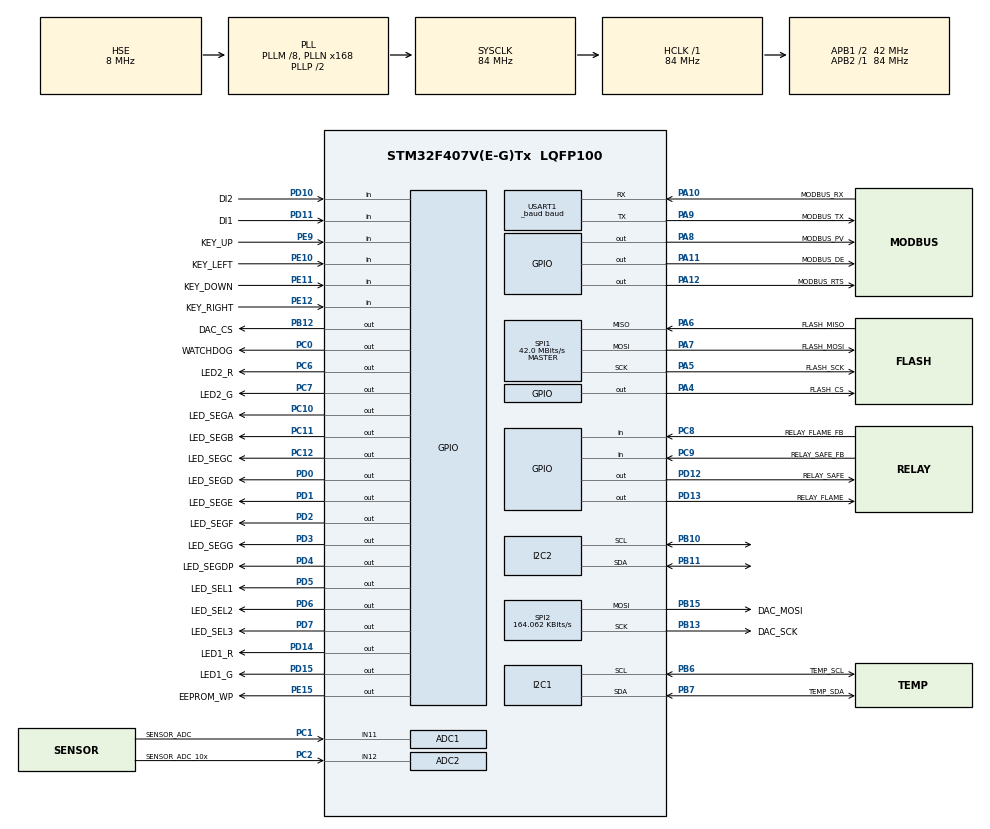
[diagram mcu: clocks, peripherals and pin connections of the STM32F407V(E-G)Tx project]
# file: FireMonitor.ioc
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ADC1.Channel-3\#ChannelRegularConversion=ADC_CHANNEL_11
ADC1.DiscontinuousConvMode=ENABLE
ADC1.NbrOfConversionFlag=1
ADC1.Rank-3\#ChannelRegularConversion=1
ADC1.SamplingTime-3\#ChannelRegularConversion=ADC_SAMPLETIME_480CYCLES
ADC1.ScanConvMode=ENABLE
ADC1.master=1
ADC2.Channel-0\#ChannelRegularConversion=ADC_CHANNEL_12
ADC2.DiscontinuousConvMode=ENABLE
ADC2.NbrOfConversionFlag=1
ADC2.Rank-0\#ChannelRegularConversion=1
ADC2.SamplingTime-0\#ChannelRegularConversion=ADC_SAMPLETIME_480CYCLES
ADC2.ScanConvMode=ENABLE
Dma.Request0=USART1_RX
Dma.Request1=USART1_TX
Dma.USART1_RX.0.Direction=DMA_PERIPH_TO_MEMORY
Dma.USART1_RX.0.FIFOMode=DMA_FIFOMODE_DISABLE
Dma.USART1_RX.0.Instance=DMA2_Stream2
Dma.USART1_RX.0.MemDataAlignment=DMA_MDATAALIGN_BYTE
Dma.USART1_RX.0.MemInc=DMA_MINC_ENABLE
Dma.USART1_RX.0.Mode=DMA_NORMAL
Dma.USART1_RX.0.PeriphDataAlignment=DMA_PDATAALIGN_BYTE
Dma.USART1_RX.0.PeriphInc=DMA_PINC_DISABLE
Dma.USART1_RX.0.Priority=DMA_PRIORITY_LOW
Dma.USART1_TX.1.Direction=DMA_MEMORY_TO_PERIPH
Dma.USART1_TX.1.FIFOMode=DMA_FIFOMODE_DISABLE
Dma.USART1_TX.1.Instance=DMA2_Stream7
Dma.USART1_TX.1.MemDataAlignment=DMA_MDATAALIGN_BYTE
Dma.USART1_TX.1.MemInc=DMA_MINC_ENABLE
Dma.USART1_TX.1.Mode=DMA_NORMAL
Dma.USART1_TX.1.PeriphDataAlignment=DMA_PDATAALIGN_BYTE
Dma.USART1_TX.1.PeriphInc=DMA_PINC_DISABLE
Dma.USART1_TX.1.Priority=DMA_PRIORITY_LOW
Mcu.Family=STM32F4
Mcu.Name=STM32F407V(E-G)Tx
Mcu.Package=LQFP100
NVIC.DMA2_Stream2_IRQn=true\:0\:0\:false\:false\:true\:false\:true\:true
NVIC.DMA2_Stream7_IRQn=true\:0\:0\:false\:false\:true\:false\:true\:true
NVIC.PriorityGroup=NVIC_PRIORITYGROUP_4
NVIC.TIM3_IRQn=true\:0\:0\:false\:false\:true\:true\:true\:true
NVIC.USART1_IRQn=true\:0\:0\:false\:false\:true\:true\:true\:true
PA10.GPIO_Label=MODBUS_RX
PA10.GPIO_PuPd=GPIO_PULLUP
PA10.Mode=Asynchronous
PA10.Signal=USART1_RX
PA11.GPIO_Label=MODBUS_DE
PA11.GPIO_PuPd=GPIO_PULLUP
PA11.Signal=GPIO_Output
PA12.GPIO_Label=MODBUS_RTS
PA12.Signal=GPIO_Output
PA13.Mode=Serial_Wire
PA13.Signal=SYS_JTMS-SWDIO
PA14.Mode=Serial_Wire
PA14.Signal=SYS_JTCK-SWCLK
PA4.GPIO_Label=FLASH_CS
PA4.Signal=GPIO_Output
PA5.GPIO_Label=FLASH_SCK
PA5.Mode=Full_Duplex_Master
PA5.Signal=SPI1_SCK
PA6.GPIO_Label=FLASH_MISO
PA6.Mode=Full_Duplex_Master
PA6.Signal=SPI1_MISO
PA7.GPIO_Label=FLASH_MOSI
PA7.Mode=Full_Duplex_Master
PA7.Signal=SPI1_MOSI
PA8.GPIO_Label=MODBUS_PV
PA8.GPIO_ModeDefaultOutputPP=GPIO_MODE_OUTPUT_PP
PA8.GPIO_PuPd=GPIO_PULLUP
PA8.Signal=GPIO_Output
PA9.GPIO_Label=MODBUS_TX
PA9.Mode=Asynchronous
PA9.Signal=USART1_TX
PB10.GPIO_Mode=GPIO_MODE_AF_OD
PB10.GPIO_Pu=GPIO_NOPULL
PB10.GPIO_Speed=GPIO_SPEED_FREQ_VERY_HIGH
PB10.Mode=I2C
PB10.Signal=I2C2_SCL
PB11.GPIO_Mode=GPIO_MODE_AF_OD
PB11.GPIO_Pu=GPIO_NOPULL
PB11.GPIO_Speed=GPIO_SPEED_FREQ_VERY_HIGH
PB11.Mode=I2C
PB11.Signal=I2C2_SDA
PB12.GPIO_Label=DAC_CS
PB12.Signal=GPIO_Output
PB13.GPIO_Label=DAC_SCK
PB13.Mode=TX_Only_Simplex_Unidirect_Master
PB13.Signal=SPI2_SCK
PB15.GPIO_Label=DAC_MOSI
PB15.Mode=TX_Only_Simplex_Unidirect_Master
PB15.Signal=SPI2_MOSI
PB6.GPIO_Label=TEMP_SCL
PB6.Mode=I2C
PB6.Signal=I2C1_SCL
PB7.GPIO_Label=TEMP_SDA
PB7.Mode=I2C
PB7.Signal=I2C1_SDA
PC0.GPIO_Label=WATCHDOG
PC0.Signal=GPIO_Output
PC1.GPIO_Label=SENSOR_ADC
PC1.Signal=ADCx_IN11
PC10.GPIO_Label=LED_SEGA
PC10.Signal=GPIO_Output
PC11.GPIO_Label=LED_SEGB
PC11.Signal=GPIO_Output
PC12.GPIO_Label=LED_SEGC
PC12.Signal=GPIO_Output
PC2.GPIO_Label=SENSOR_ADC_10x
PC2.Signal=ADCx_IN12
PC6.GPIO_Label=LED2_R
PC6.Signal=GPIO_Output
PC7.GPIO_Label=LED2_G
PC7.Signal=GPIO_Output
PC8.GPIO_Label=RELAY_FLAME_FB
PC8.Signal=GPIO_Input
PC9.GPIO_Label=RELAY_SAFE_FB
PC9.Signal=GPIO_Input
PD0.GPIO_Label=LED_SEGD
PD0.Signal=GPIO_Output
PD1.GPIO_Label=LED_SEGE
PD1.Signal=GPIO_Output
PD10.GPIO_Label=DI2
PD10.Signal=GPIO_Input
PD11.GPIO_Label=DI1
PD11.Signal=GPIO_Input
PD12.GPIO_Label=RELAY_SAFE
PD12.Signal=GPIO_Output
PD13.GPIO_Label=RELAY_FLAME
PD13.Signal=GPIO_Output
PD14.GPIO_Label=LED1_R
PD14.Signal=GPIO_Output
PD15.GPIO_Label=LED1_G
PD15.Signal=GPIO_Output
PD2.GPIO_Label=LED_SEGF
PD2.Signal=GPIO_Output
PD3.GPIO_Label=LED_SEGG
PD3.Signal=GPIO_Output
PD4.GPIO_Label=LED_SEGDP
PD4.Signal=GPIO_Output
PD5.GPIO_Label=LED_SEL1
PD5.GPIO_PuPd=GPIO_PULLUP
PD5.Signal=GPIO_Output
PD6.GPIO_Label=LED_SEL2
PD6.GPIO_PuPd=GPIO_PULLUP
PD6.Signal=GPIO_Output
PD7.GPIO_Label=LED_SEL3
PD7.GPIO_PuPd=GPIO_PULLUP
PD7.Signal=GPIO_Output
PE10.GPIO_Label=KEY_LEFT
PE10.Signal=GPIO_Input
PE11.GPIO_Label=KEY_DOWN
PE11.Signal=GPIO_Input
PE12.GPIO_Label=KEY_RIGHT
PE12.Signal=GPIO_Input
PE15.GPIO_Label=EEPROM_WP
PE15.GPIO_PuPd=GPIO_NOPULL
PE15.PinState=GPIO_PIN_SET
PE15.Signal=GPIO_Output
PE9.GPIO_Label=KEY_UP
PE9.Signal=GPIO_Input
PH0-OSC_IN.Mode=HSE-External-Oscillator
PH0-OSC_IN.Signal=RCC_OSC_IN
PH1-OSC_OUT.Mode=HSE-External-Oscillator
PH1-OSC_OUT.Signal=RCC_OSC_OUT
ProjectManager.HeapSize=0x200
ProjectManager.StackSize=0x400
ProjectManager.TargetToolchain=MDK-ARM V5.32
RCC.48MHZClocksFreq_Value=42000000
RCC.AHBFreq_Value=84000000
RCC.APB1CLKDivider=RCC_HCLK_DIV2
RCC.APB1Freq_Value=42000000
RCC.APB1TimFreq_Value=84000000
RCC.APB2Freq_Value=84000000
RCC.APB2TimFreq_Value=84000000
RCC.CortexFreq_Value=84000000
RCC.HCLKFreq_Value=84000000
RCC.HSE_VALUE=8000000
RCC.HSI_VALUE=16000000
RCC.LSE_VALUE=32768
RCC.PLLM=8
RCC.PLLN=168
RCC.PLLSourceVirtual=RCC_PLLSOURCE_HSE
RCC.SYSCLKFreq_VALUE=84000000
RCC.SYSCLKSource=RCC_SYSCLKSOURCE_PLLCLK
RCC.VCOOutputFreq_Value=168000000
SH.ADCx_IN11.0=ADC1_IN11,IN11
SH.ADCx_IN12.0=ADC2_IN12,IN12
SPI1.BaudRatePrescaler=SPI_BAUDRATEPRESCALER_2
SPI1.CalculateBaudRate=42.0 MBits/s
SPI1.Direction=SPI_DIRECTION_2LINES
SPI1.Mode=SPI_MODE_MASTER
SPI1.VirtualType=VM_MASTER
SPI2.BaudRatePrescaler=SPI_BAUDRATEPRESCALER_256
SPI2.CLKPhase=SPI_PHASE_2EDGE
SPI2.CLKPolarity=SPI_POLARITY_LOW
SPI2.CalculateBaudRate=164.062 KBits/s
SPI2.Direction=SPI_DIRECTION_2LINES
SPI2.Mode=SPI_MODE_MASTER
SPI2.VirtualType=VM_MASTER
TIM3.AutoReloadPreload=TIM_AUTORELOAD_PRELOAD_DISABLE
TIM3.Period=1000-1
TIM3.Prescaler=42-1
USART1.BaudRate=_baud
USART1.Parity=PARITY_EVEN
USART1.VirtualMode=VM_ASYNC
USART1.WordLength=WORDLENGTH_9B
VP_TIM3_VS_ClockSourceINT.Mode=Internal
board=custom

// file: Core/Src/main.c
/* USER CODE BEGIN Header */
/**
  ******************************************************************************
  * @file           : main.c
  * @brief          : Main program body
  ******************************************************************************
  * @attention
  *
  * Copyright (c) 2025 STMicroelectronics.
  * All rights reserved.
  *
  * This software is licensed under terms that can be found in the LICENSE file
  * in the root directory of this software component.
  * If no LICENSE file comes with this software, it is provided AS-IS.
  *
  ******************************************************************************
  */
/* USER CODE END Header */
#include "main.h"

/* USER CODE BEGIN Includes */
#include "relay.h"
#include "tempareture.h"
#include "analog_output.h"
#include "function_set.h"
#include "operating_mode.h"
#include "log.h"
#include "key.h"
#include "digit.h"
#include "led.h"
#include "menu.h"
#include "usart.h"
#include "eeprom.h"
#include "flash.h"
#include "digit.h"
#include "sensor.h"
#include "self_test.h"
/* USER CODE END Includes */

ADC_HandleTypeDef hadc1;
ADC_HandleTypeDef hadc2;

I2C_HandleTypeDef hi2c1;
I2C_HandleTypeDef hi2c2;

SPI_HandleTypeDef hspi1;
SPI_HandleTypeDef hspi2;

TIM_HandleTypeDef htim3;

UART_HandleTypeDef huart1;
DMA_HandleTypeDef hdma_usart1_rx;
DMA_HandleTypeDef hdma_usart1_tx;

void SystemClock_Config(void);
static void MX_GPIO_Init(void);
static void MX_DMA_Init(void);
static void MX_ADC1_Init(void);
static void MX_I2C1_Init(void);
static void MX_I2C2_Init(void);
static void MX_SPI1_Init(void);
static void MX_SPI2_Init(void);
static void MX_USART1_UART_Init(void);
static void MX_TIM3_Init(void);
static void MX_ADC2_Init(void);

/* USER CODE BEGIN 0 */
static const uint8_t _log_level = 1;
extern uint32_t _baud;
/* USER CODE END 0 */

int main(void)
{

  /* MCU Configuration--------------------------------------------------------*/

  /* Reset of all peripherals, Initializes the Flash interface and the Systick. */
  HAL_Init();

  /* USER CODE BEGIN Init */

  SEGGER_RTT_Init();
  LOG_INF("initialize...");

  /* USER CODE END Init */

  /* Configure the system clock */
  SystemClock_Config();

  /* Initialize all configured peripherals */
  MX_GPIO_Init();
  MX_DMA_Init();
  MX_ADC1_Init();
  MX_I2C1_Init();
  MX_I2C2_Init();
  MX_SPI1_Init();
  MX_SPI2_Init();
  MX_USART1_UART_Init();
  MX_TIM3_Init();
  MX_ADC2_Init();
  /* USER CODE BEGIN 2 */
  usart_baud_init();
  MX_USART1_UART_Init();
  flash_init();
  log_init();
  digit_init();
  sensor_init();
  relay_init();
  tempareture_init();
  analog_output_init();
  function_set_init();
  operating_mode_init();
  key_init();
  led_init();
  menu_init();
  usart_init();
  self_test_init();
  /* USER CODE END 2 */

  /* Infinite loop */
  /* USER CODE BEGIN WHILE */
  while (1)
  {
      log_update();
      HAL_GPIO_WritePin(WATCHDOG_GPIO_Port, WATCHDOG_Pin, GPIO_PIN_RESET);
      digit_update();
      sensor_update();
      relay_update();
      tempareture_update();
      analog_output_update();
      HAL_GPIO_WritePin(WATCHDOG_GPIO_Port, WATCHDOG_Pin, GPIO_PIN_SET);
      function_set_update();
      key_update();
      led_update();
      menu_update();
      usart_update();
      self_test_update();
      eeprom_update();
    /* USER CODE END WHILE */

  }
}

void SystemClock_Config(void)
{
  RCC_OscInitTypeDef RCC_OscInitStruct = {0};
  RCC_ClkInitTypeDef RCC_ClkInitStruct = {0};

  /** Configure the main internal regulator output voltage
  */
  __HAL_RCC_PWR_CLK_ENABLE();
  __HAL_PWR_VOLTAGESCALING_CONFIG(PWR_REGULATOR_VOLTAGE_SCALE1);

  /** Initializes the RCC Oscillators according to the specified parameters
  * in the RCC_OscInitTypeDef structure.
  */
  RCC_OscInitStruct.OscillatorType = RCC_OSCILLATORTYPE_HSE;
  RCC_OscInitStruct.HSEState = RCC_HSE_ON;
  RCC_OscInitStruct.PLL.PLLState = RCC_PLL_ON;
  RCC_OscInitStruct.PLL.PLLSource = RCC_PLLSOURCE_HSE;
  RCC_OscInitStruct.PLL.PLLM = 8;
  RCC_OscInitStruct.PLL.PLLN = 168;
  RCC_OscInitStruct.PLL.PLLP = RCC_PLLP_DIV2;
  RCC_OscInitStruct.PLL.PLLQ = 4;
  if (HAL_RCC_OscConfig(&RCC_OscInitStruct) != HAL_OK)
  {
    Error_Handler();
  }

  /** Initializes the CPU, AHB and APB buses clocks
  */
  RCC_ClkInitStruct.ClockType = RCC_CLOCKTYPE_HCLK|RCC_CLOCKTYPE_SYSCLK
                              |RCC_CLOCKTYPE_PCLK1|RCC_CLOCKTYPE_PCLK2;
  RCC_ClkInitStruct.SYSCLKSource = RCC_SYSCLKSOURCE_PLLCLK;
  RCC_ClkInitStruct.AHBCLKDivider = RCC_SYSCLK_DIV1;
  RCC_ClkInitStruct.APB1CLKDivider = RCC_HCLK_DIV2;
  RCC_ClkInitStruct.APB2CLKDivider = RCC_HCLK_DIV1;

  if (HAL_RCC_ClockConfig(&RCC_ClkInitStruct, FLASH_LATENCY_2) != HAL_OK)
  {
    Error_Handler();
  }
}

static void MX_ADC1_Init(void)
{

  ADC_ChannelConfTypeDef sConfig = {0};

  /** Configure the global features of the ADC (Clock, Resolution, Data Alignment and number of conversion)
  */
  hadc1.Instance = ADC1;
  hadc1.Init.ClockPrescaler = ADC_CLOCK_SYNC_PCLK_DIV4;
  hadc1.Init.Resolution = ADC_RESOLUTION_12B;
  hadc1.Init.ScanConvMode = ENABLE;
  hadc1.Init.ContinuousConvMode = DISABLE;
  hadc1.Init.DiscontinuousConvMode = ENABLE;
  hadc1.Init.NbrOfDiscConversion = 1;
  hadc1.Init.ExternalTrigConvEdge = ADC_EXTERNALTRIGCONVEDGE_NONE;
  hadc1.Init.ExternalTrigConv = ADC_SOFTWARE_START;
  hadc1.Init.DataAlign = ADC_DATAALIGN_RIGHT;
  hadc1.Init.NbrOfConversion = 1;
  hadc1.Init.DMAContinuousRequests = DISABLE;
  hadc1.Init.EOCSelection = ADC_EOC_SINGLE_CONV;
  if (HAL_ADC_Init(&hadc1) != HAL_OK)
  {
    Error_Handler();
  }

  /** Configure for the selected ADC regular channel its corresponding rank in the sequencer and its sample time.
  */
  sConfig.Channel = ADC_CHANNEL_11;
  sConfig.Rank = 1;
  sConfig.SamplingTime = ADC_SAMPLETIME_480CYCLES;
  if (HAL_ADC_ConfigChannel(&hadc1, &sConfig) != HAL_OK)
  {
    Error_Handler();
  }

}

static void MX_ADC2_Init(void)
{

  ADC_ChannelConfTypeDef sConfig = {0};

  /** Configure the global features of the ADC (Clock, Resolution, Data Alignment and number of conversion)
  */
  hadc2.Instance = ADC2;
  hadc2.Init.ClockPrescaler = ADC_CLOCK_SYNC_PCLK_DIV4;
  hadc2.Init.Resolution = ADC_RESOLUTION_12B;
  hadc2.Init.ScanConvMode = ENABLE;
  hadc2.Init.ContinuousConvMode = DISABLE;
  hadc2.Init.DiscontinuousConvMode = ENABLE;
  hadc2.Init.NbrOfDiscConversion = 1;
  hadc2.Init.ExternalTrigConvEdge = ADC_EXTERNALTRIGCONVEDGE_NONE;
  hadc2.Init.ExternalTrigConv = ADC_SOFTWARE_START;
  hadc2.Init.DataAlign = ADC_DATAALIGN_RIGHT;
  hadc2.Init.NbrOfConversion = 1;
  hadc2.Init.DMAContinuousRequests = DISABLE;
  hadc2.Init.EOCSelection = ADC_EOC_SINGLE_CONV;
  if (HAL_ADC_Init(&hadc2) != HAL_OK)
  {
    Error_Handler();
  }

  /** Configure for the selected ADC regular channel its corresponding rank in the sequencer and its sample time.
  */
  sConfig.Channel = ADC_CHANNEL_12;
  sConfig.Rank = 1;
  sConfig.SamplingTime = ADC_SAMPLETIME_480CYCLES;
  if (HAL_ADC_ConfigChannel(&hadc2, &sConfig) != HAL_OK)
  {
    Error_Handler();
  }

}

static void MX_I2C1_Init(void)
{

  hi2c1.Instance = I2C1;
  hi2c1.Init.ClockSpeed = 100000;
  hi2c1.Init.DutyCycle = I2C_DUTYCYCLE_2;
  hi2c1.Init.OwnAddress1 = 0;
  hi2c1.Init.AddressingMode = I2C_ADDRESSINGMODE_7BIT;
  hi2c1.Init.DualAddressMode = I2C_DUALADDRESS_DISABLE;
  hi2c1.Init.OwnAddress2 = 0;
  hi2c1.Init.GeneralCallMode = I2C_GENERALCALL_DISABLE;
  hi2c1.Init.NoStretchMode = I2C_NOSTRETCH_DISABLE;
  if (HAL_I2C_Init(&hi2c1) != HAL_OK)
  {
    Error_Handler();
  }

}

static void MX_I2C2_Init(void)
{

  hi2c2.Instance = I2C2;
  hi2c2.Init.ClockSpeed = 100000;
  hi2c2.Init.DutyCycle = I2C_DUTYCYCLE_2;
  hi2c2.Init.OwnAddress1 = 0;
  hi2c2.Init.AddressingMode = I2C_ADDRESSINGMODE_7BIT;
  hi2c2.Init.DualAddressMode = I2C_DUALADDRESS_DISABLE;
  hi2c2.Init.OwnAddress2 = 0;
  hi2c2.Init.GeneralCallMode = I2C_GENERALCALL_DISABLE;
  hi2c2.Init.NoStretchMode = I2C_NOSTRETCH_DISABLE;
  if (HAL_I2C_Init(&hi2c2) != HAL_OK)
  {
    Error_Handler();
  }

}

static void MX_SPI1_Init(void)
{

  /* SPI1 parameter configuration*/
  hspi1.Instance = SPI1;
  hspi1.Init.Mode = SPI_MODE_MASTER;
  hspi1.Init.Direction = SPI_DIRECTION_2LINES;
  hspi1.Init.DataSize = SPI_DATASIZE_8BIT;
  hspi1.Init.CLKPolarity = SPI_POLARITY_LOW;
  hspi1.Init.CLKPhase = SPI_PHASE_1EDGE;
  hspi1.Init.NSS = SPI_NSS_SOFT;
  hspi1.Init.BaudRatePrescaler = SPI_BAUDRATEPRESCALER_2;
  hspi1.Init.FirstBit = SPI_FIRSTBIT_MSB;
  hspi1.Init.TIMode = SPI_TIMODE_DISABLE;
  hspi1.Init.CRCCalculation = SPI_CRCCALCULATION_DISABLE;
  hspi1.Init.CRCPolynomial = 10;
  if (HAL_SPI_Init(&hspi1) != HAL_OK)
  {
    Error_Handler();
  }

}

static void MX_SPI2_Init(void)
{

  /* SPI2 parameter configuration*/
  hspi2.Instance = SPI2;
  hspi2.Init.Mode = SPI_MODE_MASTER;
  hspi2.Init.Direction = SPI_DIRECTION_2LINES;
  hspi2.Init.DataSize = SPI_DATASIZE_8BIT;
  hspi2.Init.CLKPolarity = SPI_POLARITY_LOW;
  hspi2.Init.CLKPhase = SPI_PHASE_2EDGE;
  hspi2.Init.NSS = SPI_NSS_SOFT;
  hspi2.Init.BaudRatePrescaler = SPI_BAUDRATEPRESCALER_256;
  hspi2.Init.FirstBit = SPI_FIRSTBIT_MSB;
  hspi2.Init.TIMode = SPI_TIMODE_DISABLE;
  hspi2.Init.CRCCalculation = SPI_CRCCALCULATION_DISABLE;
  hspi2.Init.CRCPolynomial = 10;
  if (HAL_SPI_Init(&hspi2) != HAL_OK)
  {
    Error_Handler();
  }

}

static void MX_TIM3_Init(void)
{

  TIM_ClockConfigTypeDef sClockSourceConfig = {0};
  TIM_MasterConfigTypeDef sMasterConfig = {0};

  htim3.Instance = TIM3;
  htim3.Init.Prescaler = 42-1;
  htim3.Init.CounterMode = TIM_COUNTERMODE_UP;
  htim3.Init.Period = 1000-1;
  htim3.Init.ClockDivision = TIM_CLOCKDIVISION_DIV1;
  htim3.Init.AutoReloadPreload = TIM_AUTORELOAD_PRELOAD_DISABLE;
  if (HAL_TIM_Base_Init(&htim3) != HAL_OK)
  {
    Error_Handler();
  }
  sClockSourceConfig.ClockSource = TIM_CLOCKSOURCE_INTERNAL;
  if (HAL_TIM_ConfigClockSource(&htim3, &sClockSourceConfig) != HAL_OK)
  {
    Error_Handler();
  }
  sMasterConfig.MasterOutputTrigger = TIM_TRGO_RESET;
  sMasterConfig.MasterSlaveMode = TIM_MASTERSLAVEMODE_DISABLE;
  if (HAL_TIMEx_MasterConfigSynchronization(&htim3, &sMasterConfig) != HAL_OK)
  {
    Error_Handler();
  }

}

static void MX_USART1_UART_Init(void)
{

  huart1.Instance = USART1;
  huart1.Init.BaudRate = _baud;
  huart1.Init.WordLength = UART_WORDLENGTH_9B;
  huart1.Init.StopBits = UART_STOPBITS_1;
  huart1.Init.Parity = UART_PARITY_EVEN;
  huart1.Init.Mode = UART_MODE_TX_RX;
  huart1.Init.HwFlowCtl = UART_HWCONTROL_NONE;
  huart1.Init.OverSampling = UART_OVERSAMPLING_16;
  if (HAL_UART_Init(&huart1) != HAL_OK)
  {
    Error_Handler();
  }

}

static void MX_DMA_Init(void)
{

  /* DMA controller clock enable */
  __HAL_RCC_DMA2_CLK_ENABLE();

  /* DMA interrupt init */
  /* DMA2_Stream2_IRQn interrupt configuration */
  HAL_NVIC_SetPriority(DMA2_Stream2_IRQn, 0, 0);
  HAL_NVIC_EnableIRQ(DMA2_Stream2_IRQn);
  /* DMA2_Stream7_IRQn interrupt configuration */
  HAL_NVIC_SetPriority(DMA2_Stream7_IRQn, 0, 0);
  HAL_NVIC_EnableIRQ(DMA2_Stream7_IRQn);

}

static void MX_GPIO_Init(void)
{
  GPIO_InitTypeDef GPIO_InitStruct = {0};

  /* GPIO Ports Clock Enable */
  __HAL_RCC_GPIOH_CLK_ENABLE();
  __HAL_RCC_GPIOC_CLK_ENABLE();
  __HAL_RCC_GPIOA_CLK_ENABLE();
  __HAL_RCC_GPIOE_CLK_ENABLE();
  __HAL_RCC_GPIOB_CLK_ENABLE();
  __HAL_RCC_GPIOD_CLK_ENABLE();

  /*Configure GPIO pin Output Level */
  HAL_GPIO_WritePin(GPIOC, WATCHDOG_Pin|LED2_R_Pin|LED2_G_Pin|LED_SEGA_Pin
                          |LED_SEGB_Pin|LED_SEGC_Pin, GPIO_PIN_RESET);

  /*Configure GPIO pin Output Level */
  HAL_GPIO_WritePin(GPIOA, FLASH_CS_Pin|MODBUS_PV_Pin|MODBUS_DE_Pin|MODBUS_RTS_Pin, GPIO_PIN_RESET);

  /*Configure GPIO pin Output Level */
  HAL_GPIO_WritePin(EEPROM_WP_GPIO_Port, EEPROM_WP_Pin, GPIO_PIN_SET);

  /*Configure GPIO pin Output Level */
  HAL_GPIO_WritePin(DAC_CS_GPIO_Port, DAC_CS_Pin, GPIO_PIN_RESET);

  /*Configure GPIO pin Output Level */
  HAL_GPIO_WritePin(GPIOD, RELAY_SAFE_Pin|RELAY_FLAME_Pin|LED1_R_Pin|LED1_G_Pin
                          |LED_SEGD_Pin|LED_SEGE_Pin|LED_SEGF_Pin|LED_SEGG_Pin
                          |LED_SEGDP_Pin|LED_SEL1_Pin|LED_SEL2_Pin|LED_SEL3_Pin, GPIO_PIN_RESET);

  /*Configure GPIO pins : WATCHDOG_Pin LED2_R_Pin LED2_G_Pin LED_SEGA_Pin
                           LED_SEGB_Pin LED_SEGC_Pin */
  GPIO_InitStruct.Pin = WATCHDOG_Pin|LED2_R_Pin|LED2_G_Pin|LED_SEGA_Pin
                          |LED_SEGB_Pin|LED_SEGC_Pin;
  GPIO_InitStruct.Mode = GPIO_MODE_OUTPUT_PP;
  GPIO_InitStruct.Pull = GPIO_NOPULL;
  GPIO_InitStruct.Speed = GPIO_SPEED_FREQ_LOW;
  HAL_GPIO_Init(GPIOC, &GPIO_InitStruct);

  /*Configure GPIO pins : FLASH_CS_Pin MODBUS_RTS_Pin */
  GPIO_InitStruct.Pin = FLASH_CS_Pin|MODBUS_RTS_Pin;
  GPIO_InitStruct.Mode = GPIO_MODE_OUTPUT_PP;
  GPIO_InitStruct.Pull = GPIO_NOPULL;
  GPIO_InitStruct.Speed = GPIO_SPEED_FREQ_LOW;
  HAL_GPIO_Init(GPIOA, &GPIO_InitStruct);

  /*Configure GPIO pins : KEY_UP_Pin KEY_LEFT_Pin KEY_DOWN_Pin KEY_RIGHT_Pin */
  GPIO_InitStruct.Pin = KEY_UP_Pin|KEY_LEFT_Pin|KEY_DOWN_Pin|KEY_RIGHT_Pin;
  GPIO_InitStruct.Mode = GPIO_MODE_INPUT;
  GPIO_InitStruct.Pull = GPIO_NOPULL;
  HAL_GPIO_Init(GPIOE, &GPIO_InitStruct);

  /*Configure GPIO pin : EEPROM_WP_Pin */
  GPIO_InitStruct.Pin = EEPROM_WP_Pin;
  GPIO_InitStruct.Mode = GPIO_MODE_OUTPUT_PP;
  GPIO_InitStruct.Pull = GPIO_NOPULL;
  GPIO_InitStruct.Speed = GPIO_SPEED_FREQ_LOW;
  HAL_GPIO_Init(EEPROM_WP_GPIO_Port, &GPIO_InitStruct);

  /*Configure GPIO pin : DAC_CS_Pin */
  GPIO_InitStruct.Pin = DAC_CS_Pin;
  GPIO_InitStruct.Mode = GPIO_MODE_OUTPUT_PP;
  GPIO_InitStruct.Pull = GPIO_NOPULL;
  GPIO_InitStruct.Speed = GPIO_SPEED_FREQ_LOW;
  HAL_GPIO_Init(DAC_CS_GPIO_Port, &GPIO_InitStruct);

  /*Configure GPIO pins : DI2_Pin DI1_Pin */
  GPIO_InitStruct.Pin = DI2_Pin|DI1_Pin;
  GPIO_InitStruct.Mode = GPIO_MODE_INPUT;
  GPIO_InitStruct.Pull = GPIO_NOPULL;
  HAL_GPIO_Init(GPIOD, &GPIO_InitStruct);

  /*Configure GPIO pins : RELAY_SAFE_Pin RELAY_FLAME_Pin LED1_R_Pin LED1_G_Pin
                           LED_SEGD_Pin LED_SEGE_Pin LED_SEGF_Pin LED_SEGG_Pin
                           LED_SEGDP_Pin */
  GPIO_InitStruct.Pin = RELAY_SAFE_Pin|RELAY_FLAME_Pin|LED1_R_Pin|LED1_G_Pin
                          |LED_SEGD_Pin|LED_SEGE_Pin|LED_SEGF_Pin|LED_SEGG_Pin
                          |LED_SEGDP_Pin;
  GPIO_InitStruct.Mode = GPIO_MODE_OUTPUT_PP;
  GPIO_InitStruct.Pull = GPIO_NOPULL;
  GPIO_InitStruct.Speed = GPIO_SPEED_FREQ_LOW;
  HAL_GPIO_Init(GPIOD, &GPIO_InitStruct);

  /*Configure GPIO pins : RELAY_FLAME_FB_Pin RELAY_SAFE_FB_Pin */
  GPIO_InitStruct.Pin = RELAY_FLAME_FB_Pin|RELAY_SAFE_FB_Pin;
  GPIO_InitStruct.Mode = GPIO_MODE_INPUT;
  GPIO_InitStruct.Pull = GPIO_NOPULL;
  HAL_GPIO_Init(GPIOC, &GPIO_InitStruct);

  /*Configure GPIO pins : MODBUS_PV_Pin MODBUS_DE_Pin */
  GPIO_InitStruct.Pin = MODBUS_PV_Pin|MODBUS_DE_Pin;
  GPIO_InitStruct.Mode = GPIO_MODE_OUTPUT_PP;
  GPIO_InitStruct.Pull = GPIO_PULLUP;
  GPIO_InitStruct.Speed = GPIO_SPEED_FREQ_LOW;
  HAL_GPIO_Init(GPIOA, &GPIO_InitStruct);

  /*Configure GPIO pins : LED_SEL1_Pin LED_SEL2_Pin LED_SEL3_Pin */
  GPIO_InitStruct.Pin = LED_SEL1_Pin|LED_SEL2_Pin|LED_SEL3_Pin;
  GPIO_InitStruct.Mode = GPIO_MODE_OUTPUT_PP;
  GPIO_InitStruct.Pull = GPIO_PULLUP;
  GPIO_InitStruct.Speed = GPIO_SPEED_FREQ_LOW;
  HAL_GPIO_Init(GPIOD, &GPIO_InitStruct);

}

void Error_Handler(void)
{
  /* USER CODE BEGIN Error_Handler_Debug */
  /* User can add his own implementation to report the HAL error return state */
  __disable_irq();
  LOG_INF("ERROR!!!");
  while (1)
  {
  }
  /* USER CODE END Error_Handler_Debug */
}
